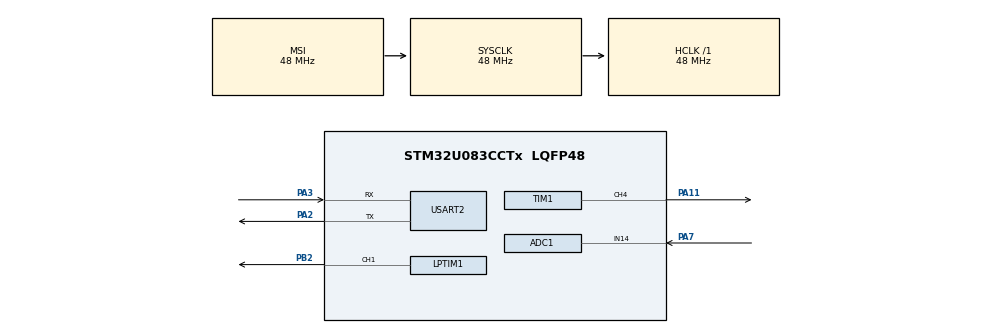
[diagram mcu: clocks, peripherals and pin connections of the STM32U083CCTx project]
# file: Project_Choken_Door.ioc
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ADC1.Channel-0\#ChannelRegularConversion=ADC_CHANNEL_14
ADC1.NbrOfConversionFlag=1
ADC1.Rank-0\#ChannelRegularConversion=1
ADC1.RankArg-0\#ChannelRegularConversion=ADC_REGULAR_RANK_1
ADC1.SamplingTime-0\#ChannelRegularConversion=ADC_SAMPLINGTIME_COMMON_1
ADC1.SelectedChannel=ADC_CHANNEL_14
ADC1.master=1
LPTIM1.ClockPrescaler=LPTIM_PRESCALER_DIV64
LPTIM1.Period=999
Mcu.Family=STM32U0
Mcu.Name=STM32U083CCTx
Mcu.Package=LQFP48
NVIC.PriorityGroup=NVIC_PRIORITYGROUP_2
NVIC.USART2_LPUART2_IRQn=true\:0\:0\:false\:false\:true\:true\:true\:true
PA11\ [PA9].Signal=S_TIM1_CH4
PA2.Mode=Asynchronous
PA2.Signal=USART2_TX
PA3.Mode=Asynchronous
PA3.Signal=USART2_RX
PA7.Mode=IN14
PA7.Signal=ADC1_IN14
PB2.Signal=S_LPTIM1_CH1
PC14-OSC32_IN.Mode=LSE-External-Oscillator
PC14-OSC32_IN.Signal=RCC_OSC32_IN
PC15-OSC32_OUT.Mode=LSE-External-Oscillator
PC15-OSC32_OUT.Signal=RCC_OSC32_OUT
PF0-OSC_IN.Mode=HSE-External-Oscillator
PF0-OSC_IN.Signal=RCC_OSC_IN
PF1-OSC_OUT.Mode=HSE-External-Oscillator
PF1-OSC_OUT.Signal=RCC_OSC_OUT
ProjectManager.HeapSize=0x200
ProjectManager.StackSize=0x400
ProjectManager.TargetToolchain=STM32CubeIDE
RCC.ADCFreq_Value=48000000
RCC.AHBFreq_Value=48000000
RCC.CortexFreq_Value=48000000
RCC.HCLKFreq_Value=48000000
RCC.HSE_VALUE=4000000
RCC.HSI48_VALUE=48000000
RCC.HSI_VALUE=16000000
RCC.MSIClockRangeVal=RCC_MSIRANGE_11
RCC.MSI_VALUE=48000000
RCC.RTCClockSelection=RCC_RTCCLKSOURCE_LSE
RCC.SYSCLKFreq_VALUE=48000000
RCC.SYSCLKSource=RCC_SYSCLKSOURCE_MSI
RCC.USBFreq_Value=48000000
RCC.VCOOutputFreq_Value=64000000
SH.S_LPTIM1_CH1.0=LPTIM1_CH1,OutputIO_CH1
SH.S_TIM1_CH4.0=TIM1_CH4,PWM Generation4 CH4
TIM1.Channel-PWM\ Generation4\ CH4=TIM_CHANNEL_4
TIM1.Prescaler=63
USART2.VirtualMode-Asynchronous=VM_ASYNC
VP_LPTIM1_VS_CH1.Mode=Channel_1_Active
VP_LPTIM1_VS_LPTIM_counterModeInternalClock.Mode=Counts__internal_clock_event_00
VP_PWR_VS_SECSignals.Mode=Security/Privilege
VP_RTC_VS_RTC_Activate.Mode=RTC_Enabled
board=custom

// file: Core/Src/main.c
/* USER CODE BEGIN Header */
/**
  ******************************************************************************
  * @file           : main.c
  * @brief          : Main program body
  *
  * Ce fichier est le point d'entrée du programme fusionné.
  * Toute la logique moteur (FSM, courant, LEDs, UART) est déléguée à moteur.c.
  * Ce main.c ne contient que :
  *   - L'initialisation des périphériques (MX_*)
  *   - La configuration de l'horloge
  *   - La boucle principale while(1)
  *   - Les fonctions Clock_SwitchToSleep / Clock_SwitchToFullSpeed
  *     (appelées par Enter_Low_Power_Mode dans moteur.c)
  ******************************************************************************
  */
/* USER CODE END Header */

#include "main.h"

/* USER CODE BEGIN Includes */
#include "moteur.h"
#include <stdio.h>
#include <string.h>
/* USER CODE END Includes */

ADC_HandleTypeDef   hadc1;
LPTIM_HandleTypeDef hlptim1;
RTC_HandleTypeDef   hrtc;
TIM_HandleTypeDef   htim1;
UART_HandleTypeDef  huart2;

void SystemClock_Config(void);
static void MX_GPIO_Init(void);
static void MX_ADC1_Init(void);
static void MX_LPTIM1_Init(void);
static void MX_TIM1_Init(void);
static void MX_RTC_Init(void);
static void MX_USART2_UART_Init(void);

/* USER CODE BEGIN PFP */
void Clock_SwitchToSleep(void);
void Clock_SwitchToFullSpeed(void);
static void UART_Send_Welcome_Msg(void);
/* USER CODE END PFP */

/* USER CODE BEGIN 0 */

/* ---------------------------------------------------------------------------
 * UART_Send_Welcome_Msg — Logo ASCII d'accueil envoyé une seule fois au boot
 * --------------------------------------------------------------------------- */
static void UART_Send_Welcome_Msg(void)
{
    HAL_UART_Transmit(&huart2, (uint8_t*)"\r\n", 2, 10);
    HAL_Delay(20);

    static const char logo[] =
            "                              ######\r\n"
            "                            ########     ##\r\n"
            "                            #########   ######\r\n"
            "                             #########  ########\r\n"
            "                   ########  ##########  ########\r\n"
            "                  ################################\r\n"
            "                  ################################\r\n"
            "                   ###############################\r\n"
            "                    ##########         ##########\r\n"
            "                     #######             #######\r\n"
            "                      #####         @@@   ######\r\n"
            "     ###########        #         @@@@@@@  #########\r\n"
            "   #######    #### #####           @@@@@    #########   #####\r\n"
            "  ######      ##########                    ########### ######\r\n"
            " ######      #### ######                    #################\r\n"
            " ######           ##### #####      ######     #######   #####    #####    #######   ###### ###### #####\r\n"
            "######           #############    #####    #####      #####   ####     ###### ###  ############\r\n"
            "######           ######  ######   ######  ######       ##### ####      ######  ### ######   ######\r\n"
            "######          ######   ######   ###### ######       ###########   ######   ### ######   ######\r\n"
            "######          ######   #####   ######  #####        ######  #####  #####  ###   #####    #####\r\n"
            "######          #####   ######   ######  #####       ######    ##### #########    ######   ######\r\n"
            "######         ######   ######   #####   #####       ######   ###### ######      #######   #####\r\n"
            "#######     #########   ######  ####### #######   ########    ###### ######    ########    #####\r\n"
            "  ##################    ################# ################    ################# ######    #######\r\n"
            "     #####    #####        ##       ##      ####    #####        ##      ###     #####       ###\r\n"
            "\r\n\0";

    HAL_UART_Transmit(&huart2, (uint8_t*)logo, sizeof(logo) - 1, 1500);
    HAL_Delay(100);

    static const char bloc_info[] =
        "\r\n+------------------------------------------------+\r\n"
        "|     SYSTEME DE CONTROLE MOTEUR INITIALISE      |\r\n"
        "|            PRET A RECEVOIR LES ORDRES          |\r\n"
        "+------------------------------------------------+\r\n\r\n\0";

    HAL_UART_Transmit(&huart2, (uint8_t*)bloc_info, sizeof(bloc_info) - 1, 200);
}

/* USER CODE END 0 */

int main(void)
{
    /* MCU Configuration -------------------------------------------------------*/
    HAL_Init();

    SystemClock_Config();

    /* Initialize all configured peripherals */
    MX_GPIO_Init();
    MX_ADC1_Init();
    MX_LPTIM1_Init();
    MX_TIM1_Init();
    MX_RTC_Init();
    MX_USART2_UART_Init();

    /* USER CODE BEGIN 2 */

    // Pré-démarre TIM1 (requis avant Motor_Forward)
    HAL_TIM_PWM_Start(&htim1, TIM_CHANNEL_4);
    __HAL_TIM_MOE_ENABLE(&htim1); // Main Output Enable : active la sortie TIM1

    // Pré-démarre LPTIM1 (requis avant Motor_Reverse)
    if (HAL_LPTIM_PWM_Start(&hlptim1, LPTIM_CHANNEL_1) != HAL_OK) Error_Handler();

    // Message d'accueil
    UART_Send_Welcome_Msg();

    // Arme l'interruption UART dès le démarrage : sans ça, les commandes ne
    // fonctionnent qu'après le premier passage en veille (qui l'arme lui-même).
    HAL_UART_Receive_IT(&huart2, &rx_data, 1);

    /* USER CODE END 2 */

    /* Infinite loop */
    while (1)
    {

        /* USER CODE BEGIN 3 */

        // 1. Traitement des commandes UART (IT + polling de secours)
        Process_UART_Command();

        // 2. Timeout LEDs vitesse (seulement hors état d'erreur)
        if (motor_state != MOTEUR_ERREUR_ABSENCE && motor_state != MOTEUR_ERREUR_BLOCAGE)
        {
            Update_LED_Timeout();
        }

        // 3. Clignotement non-bloquant des LEDs en cas d'erreur
        Gerer_Erreur_Moteur();

        // 4. Moteur en marche : surveillance courant + FSM sécurité
        if (motor_state != MOTEUR_OFF
         && motor_state != MOTEUR_ERREUR_ABSENCE
         && motor_state != MOTEUR_ERREUR_BLOCAGE)
        {
            Motor_Periodic_Update();
        }

        // 5. Moteur à l'arrêt + LEDs éteintes → entrée en veille basse consommation
        else if (motor_state == MOTEUR_OFF && led_active == 0)
        {
          // Enter_Low_Power_Mode();
        }
    }
    /* USER CODE END 3 */
}

void SystemClock_Config(void)
{
    RCC_OscInitTypeDef RCC_OscInitStruct = {0};
    RCC_ClkInitTypeDef RCC_ClkInitStruct = {0};

    HAL_PWREx_ControlVoltageScaling(PWR_REGULATOR_VOLTAGE_SCALE1);
    HAL_PWR_EnableBkUpAccess();
    __HAL_RCC_LSEDRIVE_CONFIG(RCC_LSEDRIVE_LOW);

    RCC_OscInitStruct.OscillatorType      = RCC_OSCILLATORTYPE_LSE | RCC_OSCILLATORTYPE_MSI;
    RCC_OscInitStruct.LSEState            = RCC_LSE_ON;
    RCC_OscInitStruct.MSIState            = RCC_MSI_ON;
    RCC_OscInitStruct.MSICalibrationValue = RCC_MSICALIBRATION_DEFAULT;
    RCC_OscInitStruct.MSIClockRange       = RCC_MSIRANGE_11; // 48 MHz
    RCC_OscInitStruct.PLL.PLLState        = RCC_PLL_NONE;
    if (HAL_RCC_OscConfig(&RCC_OscInitStruct) != HAL_OK) Error_Handler();

    RCC_ClkInitStruct.ClockType      = RCC_CLOCKTYPE_HCLK | RCC_CLOCKTYPE_SYSCLK | RCC_CLOCKTYPE_PCLK1;
    RCC_ClkInitStruct.SYSCLKSource   = RCC_SYSCLKSOURCE_MSI;
    RCC_ClkInitStruct.AHBCLKDivider  = RCC_SYSCLK_DIV1;
    RCC_ClkInitStruct.APB1CLKDivider = RCC_HCLK_DIV1;
    if (HAL_RCC_ClockConfig(&RCC_ClkInitStruct, FLASH_LATENCY_1) != HAL_OK) Error_Handler();
}

static void MX_ADC1_Init(void)
{

    ADC_ChannelConfTypeDef sConfig = {0};

    hadc1.Instance                   = ADC1;
    hadc1.Init.ClockPrescaler        = ADC_CLOCK_SYNC_PCLK_DIV1;
    hadc1.Init.Resolution            = ADC_RESOLUTION_12B;
    hadc1.Init.DataAlign             = ADC_DATAALIGN_RIGHT;
    hadc1.Init.ScanConvMode          = ADC_SCAN_DISABLE;
    hadc1.Init.EOCSelection          = ADC_EOC_SINGLE_CONV;
    hadc1.Init.LowPowerAutoWait      = DISABLE;
    hadc1.Init.LowPowerAutoPowerOff  = ENABLE;  // Éteint l'ADC entre deux conversions (~1 mA économisé)
    hadc1.Init.ContinuousConvMode    = DISABLE;
    hadc1.Init.NbrOfConversion       = 1;
    hadc1.Init.DiscontinuousConvMode = DISABLE;
    hadc1.Init.ExternalTrigConv      = ADC_SOFTWARE_START;
    hadc1.Init.ExternalTrigConvEdge  = ADC_EXTERNALTRIGCONVEDGE_NONE;
    hadc1.Init.DMAContinuousRequests = DISABLE;
    hadc1.Init.Overrun               = ADC_OVR_DATA_PRESERVED;
    hadc1.Init.SamplingTimeCommon1   = ADC_SAMPLETIME_160CYCLES_5; // Temps d'échantillonnage long : meilleure précision courant
    hadc1.Init.SamplingTimeCommon2   = ADC_SAMPLETIME_160CYCLES_5;
    hadc1.Init.OversamplingMode      = DISABLE;
    hadc1.Init.TriggerFrequencyMode  = ADC_TRIGGER_FREQ_HIGH;
    if (HAL_ADC_Init(&hadc1) != HAL_OK) Error_Handler();

    sConfig.Channel      = ADC_CHANNEL_14; // PA7 : shunt de mesure de courant
    sConfig.Rank         = ADC_REGULAR_RANK_1;
    sConfig.SamplingTime = ADC_SAMPLINGTIME_COMMON_1;
    if (HAL_ADC_ConfigChannel(&hadc1, &sConfig) != HAL_OK) Error_Handler();

}

static void MX_LPTIM1_Init(void)
{

    LPTIM_OC_ConfigTypeDef sConfig1 = {0};

    hlptim1.Instance               = LPTIM1;
    hlptim1.Init.Clock.Source      = LPTIM_CLOCKSOURCE_APBCLOCK_LPOSC;
    hlptim1.Init.Clock.Prescaler   = LPTIM_PRESCALER_DIV64; // Fréquence PWM cohérente avec TIM1
    hlptim1.Init.Trigger.Source    = LPTIM_TRIGSOURCE_SOFTWARE;
    hlptim1.Init.Period            = 999; // Même période que TIM1
    hlptim1.Init.UpdateMode        = LPTIM_UPDATE_IMMEDIATE;
    hlptim1.Init.CounterSource     = LPTIM_COUNTERSOURCE_INTERNAL;
    hlptim1.Init.Input1Source      = LPTIM_INPUT1SOURCE_GPIO;
    hlptim1.Init.Input2Source      = LPTIM_INPUT2SOURCE_GPIO;
    hlptim1.Init.RepetitionCounter = 0;
    if (HAL_LPTIM_Init(&hlptim1) != HAL_OK) Error_Handler();

    sConfig1.Pulse      = 0;
    sConfig1.OCPolarity = LPTIM_OCPOLARITY_LOW; // ⚠ Polarité inversée vs TIM1 (câblage pont en H)
    if (HAL_LPTIM_OC_ConfigChannel(&hlptim1, &sConfig1, LPTIM_CHANNEL_1) != HAL_OK) Error_Handler();

    HAL_LPTIM_MspPostInit(&hlptim1); // Reconnecte la broche GPIO à la sortie LPTIM1
}

static void MX_RTC_Init(void)
{

    RTC_TimeTypeDef sTime = {0};
    RTC_DateTypeDef sDate = {0};

    hrtc.Instance            = RTC;
    hrtc.Init.HourFormat     = RTC_HOURFORMAT_24;
    hrtc.Init.AsynchPrediv   = 127;  // (127+1) × (255+1) = 32768 Hz (LSE)
    hrtc.Init.SynchPrediv    = 255;  // → 1 Hz pour le compteur RTC
    hrtc.Init.OutPut         = RTC_OUTPUT_DISABLE;
    hrtc.Init.OutPutRemap    = RTC_OUTPUT_REMAP_NONE;
    hrtc.Init.OutPutPolarity = RTC_OUTPUT_POLARITY_HIGH;
    hrtc.Init.OutPutType     = RTC_OUTPUT_TYPE_OPENDRAIN;
    hrtc.Init.OutPutPullUp   = RTC_OUTPUT_PULLUP_NONE;
    hrtc.Init.BinMode        = RTC_BINARY_NONE;
    if (HAL_RTC_Init(&hrtc) != HAL_OK) Error_Handler();

    sTime.Hours          = 0x0;
    sTime.Minutes        = 0x0;
    sTime.Seconds        = 0x0;
    sTime.DayLightSaving = RTC_DAYLIGHTSAVING_NONE;
    sTime.StoreOperation = RTC_STOREOPERATION_RESET;
    if (HAL_RTC_SetTime(&hrtc, &sTime, RTC_FORMAT_BCD) != HAL_OK) Error_Handler();

    sDate.WeekDay = RTC_WEEKDAY_MONDAY;
    sDate.Month   = RTC_MONTH_JANUARY;
    sDate.Date    = 0x1;
    sDate.Year    = 0x0;
    if (HAL_RTC_SetDate(&hrtc, &sDate, RTC_FORMAT_BCD) != HAL_OK) Error_Handler();

}

static void MX_TIM1_Init(void)
{

    TIM_MasterConfigTypeDef        sMasterConfig        = {0};
    TIM_OC_InitTypeDef             sConfigOC            = {0};
    TIM_BreakDeadTimeConfigTypeDef sBreakDeadTimeConfig = {0};

    htim1.Instance               = TIM1;
    htim1.Init.Prescaler         = 63;   // Divise l'horloge APB pour la fréquence PWM cible
    htim1.Init.CounterMode       = TIM_COUNTERMODE_UP;
    htim1.Init.Period            = 999;  // ⚠ Période = 1000 pas (rapport cyclique [0,999])
    htim1.Init.ClockDivision     = TIM_CLOCKDIVISION_DIV1;
    htim1.Init.RepetitionCounter = 0;
    htim1.Init.AutoReloadPreload = TIM_AUTORELOAD_PRELOAD_DISABLE;
    if (HAL_TIM_PWM_Init(&htim1) != HAL_OK) Error_Handler();

    sMasterConfig.MasterOutputTrigger  = TIM_TRGO_RESET;
    sMasterConfig.MasterOutputTrigger2 = TIM_TRGO2_RESET;
    sMasterConfig.MasterSlaveMode      = TIM_MASTERSLAVEMODE_DISABLE;
    if (HAL_TIMEx_MasterConfigSynchronization(&htim1, &sMasterConfig) != HAL_OK) Error_Handler();

    sConfigOC.OCMode       = TIM_OCMODE_PWM1; // Actif tant que CNT < CCR
    sConfigOC.Pulse        = 0;               // Rapport cyclique initial 0 %
    sConfigOC.OCPolarity   = TIM_OCPOLARITY_HIGH;
    sConfigOC.OCFastMode   = TIM_OCFAST_DISABLE;
    sConfigOC.OCIdleState  = TIM_OCIDLESTATE_RESET;
    sConfigOC.OCNIdleState = TIM_OCNIDLESTATE_RESET;
    if (HAL_TIM_PWM_ConfigChannel(&htim1, &sConfigOC, TIM_CHANNEL_4) != HAL_OK) Error_Handler();

    // Break/Dead-time désactivé : le pont en H est géré par GPIO, pas par break hardware
    sBreakDeadTimeConfig.OffStateRunMode  = TIM_OSSR_DISABLE;
    sBreakDeadTimeConfig.OffStateIDLEMode = TIM_OSSI_DISABLE;
    sBreakDeadTimeConfig.LockLevel        = TIM_LOCKLEVEL_OFF;
    sBreakDeadTimeConfig.DeadTime         = 0;
    sBreakDeadTimeConfig.BreakState       = TIM_BREAK_DISABLE;
    sBreakDeadTimeConfig.BreakPolarity    = TIM_BREAKPOLARITY_HIGH;
    sBreakDeadTimeConfig.BreakFilter      = 0;
    sBreakDeadTimeConfig.BreakAFMode      = TIM_BREAK_AFMODE_INPUT;
    sBreakDeadTimeConfig.Break2State      = TIM_BREAK2_DISABLE;
    sBreakDeadTimeConfig.Break2Polarity   = TIM_BREAK2POLARITY_HIGH;
    sBreakDeadTimeConfig.Break2Filter     = 0;
    sBreakDeadTimeConfig.Break2AFMode     = TIM_BREAK_AFMODE_INPUT;
    sBreakDeadTimeConfig.AutomaticOutput  = TIM_AUTOMATICOUTPUT_DISABLE;
    if (HAL_TIMEx_ConfigBreakDeadTime(&htim1, &sBreakDeadTimeConfig) != HAL_OK) Error_Handler();

    HAL_TIM_MspPostInit(&htim1); // Reconnecte PA11 à la sortie TIM1 CH4
}

static void MX_USART2_UART_Init(void)
{

    huart2.Instance                    = USART2;
    huart2.Init.BaudRate               = 115200;
    huart2.Init.WordLength             = UART_WORDLENGTH_8B;
    huart2.Init.StopBits               = UART_STOPBITS_1;
    huart2.Init.Parity                 = UART_PARITY_NONE;
    huart2.Init.Mode                   = UART_MODE_TX_RX;
    huart2.Init.HwFlowCtl              = UART_HWCONTROL_NONE;
    huart2.Init.OverSampling           = UART_OVERSAMPLING_16;
    huart2.Init.OneBitSampling         = UART_ONE_BIT_SAMPLE_DISABLE;
    huart2.Init.ClockPrescaler         = UART_PRESCALER_DIV1;
    huart2.AdvancedInit.AdvFeatureInit = UART_ADVFEATURE_NO_INIT;
    if (HAL_UART_Init(&huart2) != HAL_OK) Error_Handler();
    if (HAL_UARTEx_SetTxFifoThreshold(&huart2, UART_TXFIFO_THRESHOLD_1_8) != HAL_OK) Error_Handler();
    if (HAL_UARTEx_SetRxFifoThreshold(&huart2, UART_RXFIFO_THRESHOLD_1_8) != HAL_OK) Error_Handler();
    if (HAL_UARTEx_DisableFifoMode(&huart2) != HAL_OK) Error_Handler();

}

static void MX_GPIO_Init(void)
{

    GPIO_InitTypeDef GPIO_InitStruct = {0};

    // Activation obligatoire des horloges GPIO avant tout accès registre
    __HAL_RCC_GPIOC_CLK_ENABLE();
    __HAL_RCC_GPIOF_CLK_ENABLE();
    __HAL_RCC_GPIOA_CLK_ENABLE();
    __HAL_RCC_GPIOB_CLK_ENABLE();

/* USER CODE BEGIN MX_GPIO_Init_2 */

    // I2C1 : open-drain alternate function (PB8 = SCL, PB9 = SDA)
    // ⚠ Ces broches sont partagées avec LED_D_3 et LED_D_4 — voir moteur.h
    //GPIO_InitStruct.Pin       = I2C1_SCL_Pin | I2C1_SDA_Pin;
    GPIO_InitStruct.Mode      = GPIO_MODE_AF_OD;
    GPIO_InitStruct.Pull      = GPIO_NOPULL;
    GPIO_InitStruct.Speed     = GPIO_SPEED_FREQ_LOW;
    GPIO_InitStruct.Alternate = GPIO_AF4_I2C1;
    HAL_GPIO_Init(GPIOB, &GPIO_InitStruct);

    // Pins de commande moteur : sortie push-pull
    GPIO_InitStruct.Mode  = GPIO_MODE_OUTPUT_PP;
    GPIO_InitStruct.Pull  = GPIO_NOPULL;
    GPIO_InitStruct.Speed = GPIO_SPEED_FREQ_LOW;

    GPIO_InitStruct.Pin = MOTEUR_NSLEEP_PIN | MOTEUR_ARRIERE_PIN; // PA9, PA10
    HAL_GPIO_Init(GPIOA, &GPIO_InitStruct);

    GPIO_InitStruct.Pin = MOTEUR_AVANT_PIN; // PB1
    HAL_GPIO_Init(GPIOB, &GPIO_InitStruct);

    // Pins LED : même mode sortie PP (PB7, PB3, PB8, PB9)
    GPIO_InitStruct.Pin = LED_G_1_PIN | LED_G_2_PIN | LED_D_3_PIN | LED_D_4_PIN;
    HAL_GPIO_Init(GPIOB, &GPIO_InitStruct);

    // État initial : driver moteur en veille, LEDs éteintes
    HAL_GPIO_WritePin(GPIOA, MOTEUR_NSLEEP_PIN | MOTEUR_ARRIERE_PIN, GPIO_PIN_RESET);
    HAL_GPIO_WritePin(GPIOB, MOTEUR_AVANT_PIN | LED_G_1_PIN | LED_G_2_PIN
                            | LED_D_3_PIN | LED_D_4_PIN, GPIO_PIN_RESET);

/* USER CODE END MX_GPIO_Init_2 */
}

/* USER CODE BEGIN 4 */

void Peripherals_ReInit(void)
{
    // Cette fonction sert de passerelle pour moteur.c après le réveil
    MX_GPIO_Init();
    MX_TIM1_Init();
    MX_LPTIM1_Init();
    MX_ADC1_Init();
    MX_USART2_UART_Init();
}

/* ---------------------------------------------------------------------------
 * Clock_SwitchToSleep — réduit MSI 48 MHz → 4 MHz + SCALE2 avant veille
 *
 * ⚠ Appelée par Enter_Low_Power_Mode() dans moteur.c.
 *    Déclarée ici car elle utilise huart2 et les init HAL locaux.
 *    Séquence obligatoire : flash latency → fréquence → tension → BRR UART
 *    DOIT être appelée AVANT HAL_UART_Receive_IT (sinon le HAL_UART_Init annule l'IT).
 * --------------------------------------------------------------------------- */
void Clock_SwitchToSleep(void)
{
    __HAL_FLASH_SET_LATENCY(FLASH_LATENCY_0); // 0 wait state suffisant à 4 MHz

    RCC_OscInitTypeDef osc      = {0};
    osc.OscillatorType          = RCC_OSCILLATORTYPE_MSI;
    osc.MSIState                = RCC_MSI_ON;
    osc.MSICalibrationValue     = RCC_MSICALIBRATION_DEFAULT;
    osc.MSIClockRange           = RCC_MSIRANGE_6; // 4 MHz
    osc.PLL.PLLState            = RCC_PLL_NONE;
    HAL_RCC_OscConfig(&osc);

    // SCALE2 (Vcore 1.0 V) seulement APRÈS la réduction de fréquence
    HAL_PWREx_ControlVoltageScaling(PWR_REGULATOR_VOLTAGE_SCALE2);

    HAL_UART_Init(&huart2); // Recalcule le BRR pour 115200 baud @ 4 MHz
}

/* ---------------------------------------------------------------------------
 * Clock_SwitchToFullSpeed — restaure MSI 4 MHz → 48 MHz + SCALE1 au réveil
 *
 * ⚠ Appelée par Enter_Low_Power_Mode() dans moteur.c après le WFI.
 *    Séquence obligatoire : tension → fréquence → flash latency → BRR UART
 * --------------------------------------------------------------------------- */
void Clock_SwitchToFullSpeed(void)
{
    // SCALE1 (Vcore 1.2 V) obligatoire AVANT de repasser au-dessus de 26 MHz
    HAL_PWREx_ControlVoltageScaling(PWR_REGULATOR_VOLTAGE_SCALE1);

    RCC_OscInitTypeDef osc  = {0};
    osc.OscillatorType      = RCC_OSCILLATORTYPE_MSI;
    osc.MSIState            = RCC_MSI_ON;
    osc.MSICalibrationValue = RCC_MSICALIBRATION_DEFAULT;
    osc.MSIClockRange       = RCC_MSIRANGE_11; // 48 MHz
    osc.PLL.PLLState        = RCC_PLL_NONE;
    HAL_RCC_OscConfig(&osc);

    __HAL_FLASH_SET_LATENCY(FLASH_LATENCY_1); // Restaure latence pour 48 MHz

    HAL_UART_Init(&huart2); // Recalcule le BRR pour 115200 baud @ 48 MHz
}

/* USER CODE END 4 */

void Error_Handler(void)
{
    /* USER CODE BEGIN Error_Handler_Debug */
    __disable_irq(); // Coupe toutes les interruptions pour figer le système
    while (1) {}
    /* USER CODE END Error_Handler_Debug */
}
